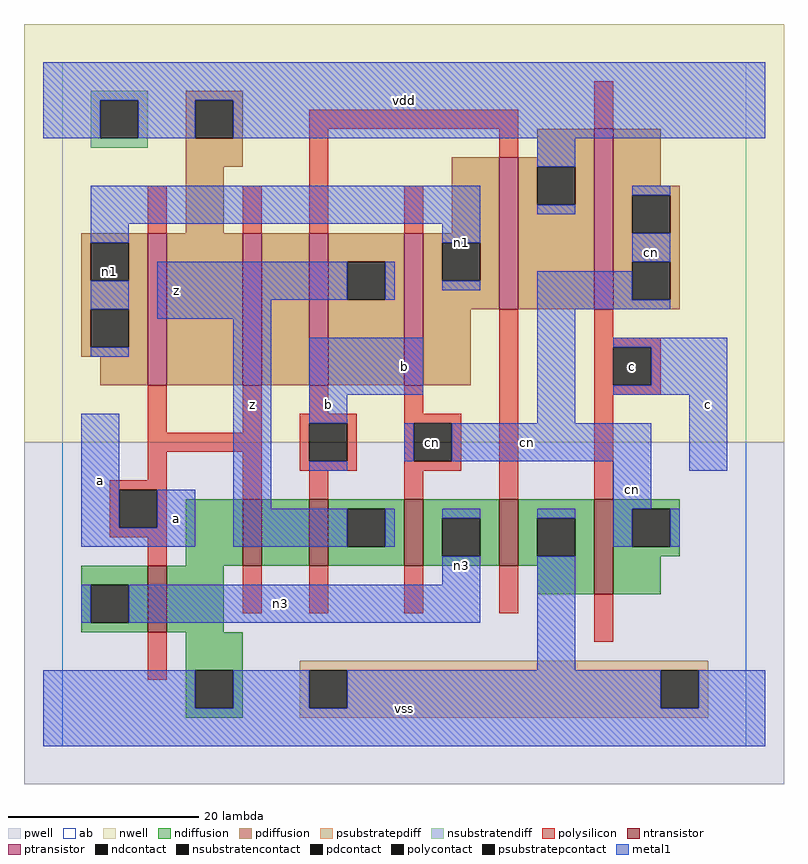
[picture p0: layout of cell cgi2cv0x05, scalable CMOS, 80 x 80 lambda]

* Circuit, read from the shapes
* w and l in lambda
.subckt cgi2cv0x05 a b c cn n1 n3 vdd vss z
M1 vss a n3 vss nfet w=7 l=2
M2 n2 a vss vss nfet w=7 l=2
M3 z b n2 vss nfet w=7 l=2
M4 n3 cn z vss nfet w=7 l=2
M5 vss b n3 vss nfet w=7 l=2
M6 cn c vss vss nfet w=10 l=2
M7 vdd a n1 vdd pfet w=16 l=2
M8 n4 a vdd vdd pfet w=16 l=2
M9 z b n4 vdd pfet w=16 l=2
M10 n1 cn z vdd pfet w=16 l=2
M11 vdd b n1 vdd pfet w=16 l=2
M12 cn c vdd vdd pfet w=19 l=2
.ends

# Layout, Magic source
magic
tech scmos
<< ab >>
rect 0 0 72 72
<< pwell >>
rect -4 -4 76 32
<< nwell >>
rect -4 32 76 76
<< polysilicon >>
rect 26 65 48 67
rect 56 65 58 70
rect 9 54 11 59
rect 19 54 21 59
rect 26 54 28 65
rect 46 62 48 65
rect 36 54 38 59
rect 9 33 11 38
rect 19 33 21 38
rect 26 35 28 38
rect 36 35 38 38
rect 9 31 21 33
rect 9 28 11 31
rect 5 27 11 28
rect 5 23 6 27
rect 10 23 11 27
rect 19 26 21 31
rect 25 34 31 35
rect 25 30 26 34
rect 30 30 31 34
rect 25 29 31 30
rect 36 34 42 35
rect 36 30 37 34
rect 41 30 42 34
rect 36 29 42 30
rect 26 26 28 29
rect 36 26 38 29
rect 46 26 48 46
rect 56 43 58 46
rect 56 42 63 43
rect 56 38 58 42
rect 62 38 63 42
rect 56 37 63 38
rect 56 26 58 37
rect 5 22 11 23
rect 9 19 11 22
rect 19 14 21 19
rect 26 14 28 19
rect 36 14 38 19
rect 46 14 48 19
rect 9 7 11 12
rect 56 11 58 16
<< ndiffusion >>
rect 13 19 19 26
rect 21 19 26 26
rect 28 25 36 26
rect 28 21 30 25
rect 34 21 36 25
rect 28 19 36 21
rect 38 24 46 26
rect 38 20 40 24
rect 44 20 46 24
rect 38 19 46 20
rect 48 24 56 26
rect 48 20 50 24
rect 54 20 56 24
rect 48 19 56 20
rect 2 17 9 19
rect 2 13 3 17
rect 7 13 9 17
rect 2 12 9 13
rect 11 12 17 19
rect 50 16 56 19
rect 58 25 65 26
rect 58 21 60 25
rect 64 21 65 25
rect 58 20 65 21
rect 58 16 63 20
rect 13 8 19 12
rect 13 4 14 8
rect 18 4 19 8
rect 13 3 19 4
<< pdiffusion >>
rect 13 68 19 69
rect 13 64 14 68
rect 18 64 19 68
rect 13 61 19 64
rect 13 54 17 61
rect 50 62 56 65
rect 41 54 46 62
rect 2 53 9 54
rect 2 49 3 53
rect 7 49 9 53
rect 2 46 9 49
rect 2 42 3 46
rect 7 42 9 46
rect 2 41 9 42
rect 4 38 9 41
rect 11 38 19 54
rect 21 38 26 54
rect 28 51 36 54
rect 28 47 30 51
rect 34 47 36 51
rect 28 38 36 47
rect 38 53 46 54
rect 38 49 40 53
rect 44 49 46 53
rect 38 46 46 49
rect 48 61 56 62
rect 48 57 50 61
rect 54 57 56 61
rect 48 46 56 57
rect 58 59 63 65
rect 58 58 65 59
rect 58 54 60 58
rect 64 54 65 58
rect 58 51 65 54
rect 58 47 60 51
rect 64 47 65 51
rect 58 46 65 47
rect 38 38 43 46
<< metal1 >>
rect -2 68 74 72
rect -2 64 4 68
rect 8 64 14 68
rect 18 64 74 68
rect 50 61 54 64
rect 3 55 44 59
rect 50 56 54 57
rect 60 58 64 59
rect 3 53 7 55
rect 40 53 44 55
rect 3 46 7 49
rect 10 47 30 51
rect 34 47 35 51
rect 60 51 64 54
rect 40 48 44 49
rect 50 47 60 50
rect 10 45 22 47
rect 3 41 7 42
rect 2 23 6 35
rect 10 23 14 27
rect 2 21 14 23
rect 18 25 22 45
rect 50 46 64 47
rect 26 37 38 43
rect 26 34 30 37
rect 50 34 54 46
rect 58 42 70 43
rect 62 38 70 42
rect 58 37 70 38
rect 36 30 37 34
rect 41 30 62 34
rect 26 29 30 30
rect 58 25 62 30
rect 66 29 70 37
rect 18 21 30 25
rect 34 21 35 25
rect 40 24 44 25
rect 40 17 44 20
rect 2 13 3 17
rect 7 13 44 17
rect 50 24 54 25
rect 58 21 60 25
rect 64 21 65 25
rect 50 8 54 20
rect -2 4 14 8
rect 18 4 26 8
rect 30 4 63 8
rect 67 4 74 8
rect -2 0 74 4
<< ntransistor >>
rect 19 19 21 26
rect 26 19 28 26
rect 36 19 38 26
rect 46 19 48 26
rect 9 12 11 19
rect 56 16 58 26
<< ptransistor >>
rect 9 38 11 54
rect 19 38 21 54
rect 26 38 28 54
rect 36 38 38 54
rect 46 46 48 62
rect 56 46 58 65
<< polycontact >>
rect 6 23 10 27
rect 26 30 30 34
rect 37 30 41 34
rect 58 38 62 42
<< ndcontact >>
rect 30 21 34 25
rect 40 20 44 24
rect 50 20 54 24
rect 3 13 7 17
rect 60 21 64 25
rect 14 4 18 8
<< pdcontact >>
rect 14 64 18 68
rect 3 49 7 53
rect 3 42 7 46
rect 30 47 34 51
rect 40 49 44 53
rect 50 57 54 61
rect 60 54 64 58
rect 60 47 64 51
<< psubstratepcontact >>
rect 26 4 30 8
rect 63 4 67 8
<< nsubstratencontact >>
rect 4 64 8 68
<< psubstratepdiff >>
rect 25 8 68 9
rect 25 4 26 8
rect 30 4 63 8
rect 67 4 68 8
rect 25 3 68 4
<< nsubstratendiff >>
rect 3 68 9 69
rect 3 64 4 68
rect 8 64 9 68
rect 3 63 9 64
<< labels >>
rlabel polycontact 39 32 39 32 6 cn
rlabel metal1 4 28 4 28 6 a
rlabel metal1 12 24 12 24 6 a
rlabel metal1 12 48 12 48 6 z
rlabel pdcontact 5 50 5 50 6 n1
rlabel metal1 28 36 28 36 6 b
rlabel metal1 20 36 20 36 6 z
rlabel metal1 36 4 36 4 6 vss
rlabel metal1 23 15 23 15 6 n3
rlabel metal1 42 19 42 19 6 n3
rlabel metal1 36 40 36 40 6 b
rlabel metal1 42 53 42 53 6 n1
rlabel metal1 36 68 36 68 6 vdd
rlabel metal1 49 32 49 32 6 cn
rlabel metal1 60 27 60 27 6 cn
rlabel metal1 68 36 68 36 6 c
rlabel polycontact 60 40 60 40 6 c
rlabel metal1 62 52 62 52 6 cn
<< end >>
